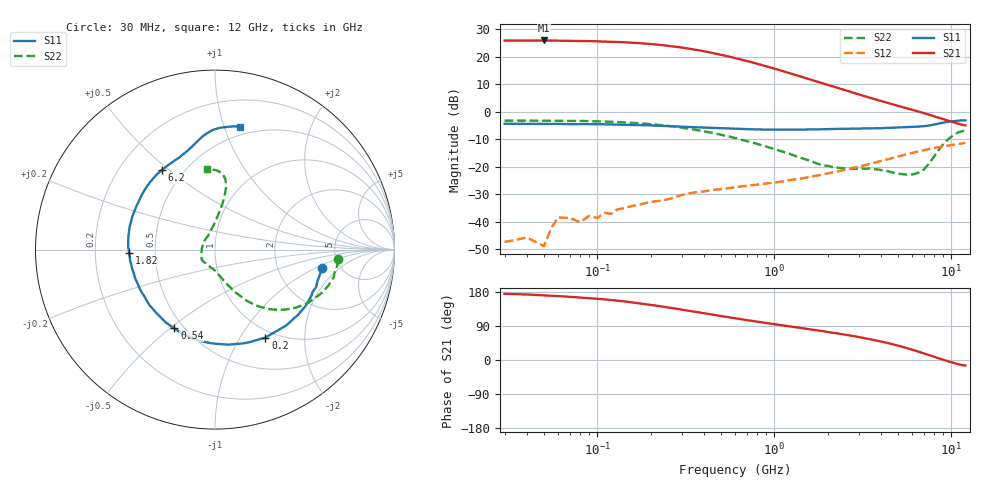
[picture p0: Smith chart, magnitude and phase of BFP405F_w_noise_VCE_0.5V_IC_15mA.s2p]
! Infineon Technologies  Discrete & RF Semiconductors
! BFP405F
! VCE =  0.5 V,  IC =  15 mA
! Common Emitter S-Parameters:  Nov 2015
# GHz  S  MA  R  50
!  f  S11  S21  S12  S22
! GHz  MAG  ANG  MAG  ANG  MAG  ANG  MAG  ANG
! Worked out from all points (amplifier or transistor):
!   239 points, 30 MHz to 12 GHz, reference 50 ohm
!   highest |S21| = 25.9 dB at 50 MHz (marker M1)
!   |S21| within 3 dB of that: start of sweep to 331.1 MHz
!   unconditionally stable (mu >= 1): start of sweep to 56.3 MHz; 717.5 MHz to end of sweep
!   at 300 MHz: K = 0.63, MSG = 26.8 dB, |S12| = -30.3 dB
!   at 1.88 GHz: K = 1.68, MAG = 11.7 dB, |S12| = -22.8 dB
!   at 12 GHz: K = 1.72, MAG = -1.8 dB, |S12| = -11.3 dB
!   lowest NFmin = 1.97 dB at 450 MHz
!   S11 on the Smith chart (normalised r, x): 30 MHz: 3.62, -1.19; 200 MHz: 0.90, -1.29; 540 MHz: 0.45, -0.52; 1.82 GHz: 0.35, -0.02; 6.2 GHz: 0.38, +0.47; 12 GHz: 0.42, +1.13
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0.03  0.6036 -10.0  19.64 174.6  0.0043 88.4  0.6885 -4.5
0.04  0.601 -13.3  19.66 172.9  0.0052 88.1  0.6878 -6.2
0.05  0.5972 -17.0  19.71 170.6  0.0036 108.7  0.686 -8.0
0.06  0.6008 -20.3  19.55 168.9  0.012 80.4  0.6844 -9.6
0.085  0.5946 -27.6  19.22 164.1  0.0112 84.0  0.6766 -13.7
0.105  0.5918 -33.8  18.91 160.8  0.0131 81.5  0.6645 -16.9
0.14  0.581 -44.3  18.32 155.0  0.0176 67.8  0.6423 -22.1
0.2  0.5646 -60.2  17.04 145.3  0.0229 67.0  0.5963 -30.1
0.24  0.5507 -69.3  16.01 140.2  0.0248 62.1  0.5621 -34.6
0.3  0.5347 -82.0  14.66 132.8  0.0306 56.5  0.5129 -40.7
0.36  0.5212 -93.0  13.34 127.0  0.0343 54.7  0.4687 -45.5
0.44  0.5087 -105.2  11.82 120.2  0.0373 51.0  0.4161 -50.8
0.54  0.4937 -117.3  10.26 113.7  0.0405 48.3  0.3612 -55.8
0.6  0.4898 -123.9  9.44 110.0  0.0424 47.5  0.3326 -58.4
0.9  0.4724 -146.0  6.692 97.5  0.0497 45.2  0.2319 -67.4
1.24  0.4717 -161.6  4.956 88.2  0.0574 46.6  0.1683 -76.0
1.64  0.4767 -173.5  3.771 80.1  0.0665 47.7  0.1238 -87.9
1.82  0.4791 -177.8  3.393 77.0  0.0707 48.2  0.1097 -95.0
2.7  0.491 166.2  2.288 64.3  0.093 48.2  0.092 -126.1
4.5  0.5097 142.4  1.407 43.4  0.1393 42.3  0.0808 -160.8
6.2  0.5337 123.7  1.053 25.3  0.1822 33.0  0.0739 144.8
12  0.697 78.6  0.564 -14.8  0.2737 3.0  0.449 95.8
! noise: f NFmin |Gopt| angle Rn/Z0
0.45  1.97  0.11  2  0.35
0.9  1.99  0.1  4  0.33
1.5  2.03  0.08  8  0.23
1.9  2.09  0.06  10  0.28
2.4  2.24  0.04  13  0.42
3  2.32  0.03  6  0.36
3.5  2.38  0.01  -46  0.48
4.5  2.58  0.08  -93  0.25
5.5  2.83  0.16  -88  0.1
